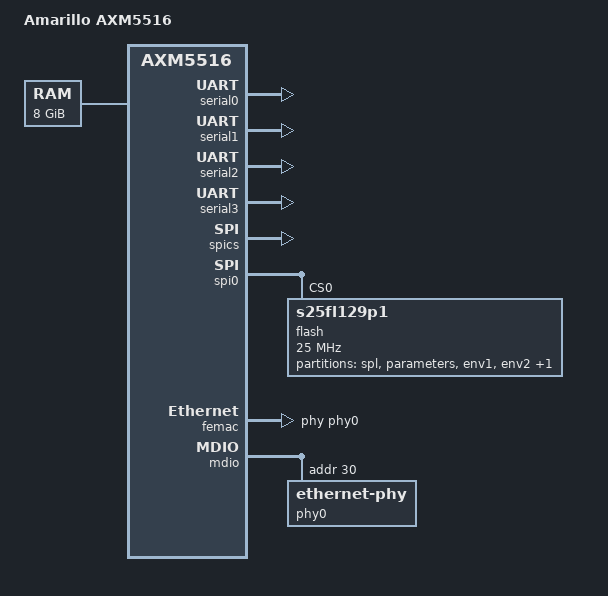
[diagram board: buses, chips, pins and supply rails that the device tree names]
/*
 * arch/arm/boot/dts/axm5516-amarillo.dts
 *
 * Copyright (C) 2013 LSI
 *
 * This program is free software; you can redistribute it and/or modify
 * it under the terms of the GNU General Public License as published by
 * the Free Software Foundation; either version 2 of the License, or
 * (at your option) any later version.
 */

/dts-v1/;

/memreserve/ 0x00000000 0x00400000;

#include "axm55xx.dtsi"
#include "axm5516-cpus.dtsi"

/ {
	model = "Amarillo AXM5516";
	compatible = "lsi,axm5516-amarillo", "lsi,axm5516";

	memory {
		device_type = "memory";
		reg = <0 0x00000000 0x02 0x00000000>;
	};
};

&serial0 {
	status = "okay";
};

&serial1 {
	status = "okay";
};

&serial2 {
	status = "okay";
};

&serial3 {
	status = "okay";
};

&gpio0 {
	status = "okay";
};

&gpio1 {
	status = "okay";
};

&spics {
	status = "okay";
};

&spi0 {
	status = "okay";

	flash@0 {
		#address-cells = <1>;
		#size-cells = <1>;
		compatible = "s25fl129p1";
		reg = <0x0>;
		spi-max-frequency = <25000000>;
		pl022,com-mode = <0>;

		partition@0 {
			label = "spl";
			reg = <0x0 0x40000>;
		};
		partition@40000 {
			label = "parameters";
			reg = <0x40000 0x10000>;
		};
		partition@60000 {
			label = "env1";
			reg = <0x60000 0x10000>;
		};
		partition@70000 {
			label = "env2";
			reg = <0x70000 0x10000>;
		};
		partition@100000 {
			label = "u-boot";
			reg = <0x100000 0x200000>;
		};
	};
};

&femac {
	status = "okay";
	phy-handle = <&phy0>;
};

&mdio {
	status = "okay";
	lsi,mdio-clk-offset = <0x10>;
	lsi,mdio-clk-period = <0x2c>;

	phy0: ethernet-phy@1e {
		reg = <0x1e>;
	};
};
